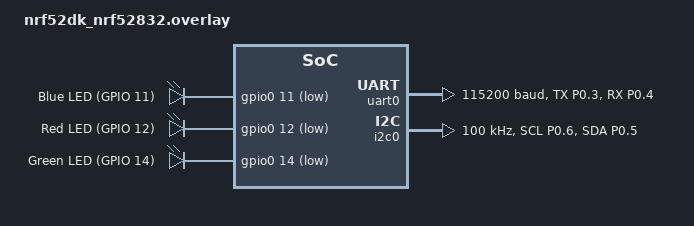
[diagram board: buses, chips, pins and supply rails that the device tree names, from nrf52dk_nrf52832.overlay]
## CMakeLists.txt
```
# SPDX-License-Identifier: Apache-2.0

cmake_minimum_required(VERSION 3.20.0)

find_package(Zephyr REQUIRED HINTS $ENV{ZEPHYR_BASE})
project(puck_test)

FILE(GLOB app_sources src/*.c main_common.c)
target_sources(app PRIVATE ${app_sources}
)
```

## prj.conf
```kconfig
# nothing here
CONFIG_NFCT_PINS_AS_GPIOS=y
CONFIG_CLOCK_CONTROL_NRF_K32SRC_RC=y // this must be enabled if an external LF clock is not present
# Setup I2C
CONFIG_I2C=y
CONFIG_CBPRINTF_FP_SUPPORT=y

# Enable RTT
CONFIG_NO_OPTIMIZATIONS=y
CONFIG_SERIAL=n
CONFIG_PRINTK=y
CONFIG_RTT_CONSOLE=y
```

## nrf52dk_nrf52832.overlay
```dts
// To get started, press Ctrl+Space to bring up the completion menu and view the available nodes.

// You can also use the buttons in the sidebar to perform actions on nodes.
// Actions currently available include:

// * Enabling / disabling the node
// * Adding the bus to a bus
// * Removing the node
// * Connecting ADC channels

// For more help, browse the DeviceTree documentation at https://docs.zephyrproject.org/latest/guides/dts/index.html
// You can also visit the nRF DeviceTree extension documentation at https://nrfconnect.github.io/vscode-nrf-connect/devicetree/nrfdevicetree.html

/ {
    aliases {
        blue-led = &led0;
        red-led = &led1;
        green-led = &led2;
        serial-out = &uart0;
        lis3dh-i2c = &i2c0;
    };
    chosen {
        zephyr,uart-mcumgr = < &uart0 >;
    };
};

&pinctrl {
    uart0_default: uart0_default {
        group1 {
            psels = < NRF_PSEL(UART_TX, 0, 3) >, <NRF_PSEL(UART_RX, 0, 4)>;
            low-power-enable;
        };
    };
    i2c0_default: i2c0_default {
        group1 {
            psels = < NRF_PSEL(TWIM_SCL, 0, 6) >, < NRF_PSEL(TWIM_SDA, 0, 5) >;
        };
    };
};

&led0 {
    gpios = < &gpio0 11 GPIO_ACTIVE_LOW >;
    label = "Blue LED (GPIO 11)";
};

&led1 {
    gpios = < &gpio0 12 GPIO_ACTIVE_LOW >;
    label = "Red LED (GPIO 12)";
};

&led2 {
    gpios = < &gpio0 14 GPIO_ACTIVE_LOW >;
    label = "Green LED (GPIO 14)";
};

&uart0 {
    status = "okay";
    compatible = "nordic,nrf-uart";
    current-speed = < 115200 >;
    pinctrl-0 = <&uart0_default>;
    pinctrl-1 = <&uart0_default>;
    pinctrl-names = "default", "sleep";
};

&i2c0 {
    status = "okay";
    compatible = "nordic,nrf-twim";
    pinctrl-0 = <&i2c0_default>;
    pinctrl-1 = <&i2c0_default>;
    pinctrl-names = "default", "sleep";
    clock-frequency = < I2C_BITRATE_STANDARD >;
};
```

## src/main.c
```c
#include <zephyr/zephyr.h>
#include "sys_types.h"

#define STACK_SIZE 500

extern void blink_blue(void);
extern void blink_green(void);
extern void blink_red(void);
extern void imu(void);

K_THREAD_DEFINE(led_red_tid, STACK_SIZE, blink_red, NULL, NULL, NULL, 4, 0, 0);
K_THREAD_DEFINE(led_green_tid, STACK_SIZE, blink_green, NULL, NULL, NULL, 3, 0, 0);
K_THREAD_DEFINE(led_blue_tid, STACK_SIZE, blink_blue, NULL, NULL, NULL, 2, 0, 0);
K_THREAD_DEFINE(imu_tid, STACK_SIZE, imu, NULL, NULL, NULL, 1, 0, 0);

void main() {
    struct acceleration accel;
    while(1) {
        k_msgq_get(&accel_queue, &accel, K_FOREVER);
    }

}
```

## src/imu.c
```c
#include <zephyr/kernel.h>
#include <zephyr/sys/printk.h>
#include <zephyr/device.h>
#include <zephyr/drivers/i2c.h>
#include <zephyr/sys/byteorder.h>

#include "sys_types.h"

#define MPU6050_ADDR 0x68

extern struct acceleration;

K_MSGQ_DEFINE(accel_queue, sizeof(struct acceleration), 10, 4);

void imu(void) {
    int ret;
    struct acceleration acc;

    uint8_t accel[6];

    const struct device *const i2c_dev = DEVICE_DT_GET(DT_NODELABEL(i2c0));

    if (!device_is_ready(i2c_dev)) {
        return;
    }

    if (ret) return;

    while(1){
        ret = i2c_burst_read(i2c_dev, MPU6050_ADDR, 0x3B, &accel, 6);
        if (ret) return;

        acc.x = (float)(accel[0] << 8 | accel[1])/4096.0;
        acc.y = (float)(accel[2] << 8 | accel[3])/4096.0;
        acc.z = (float)(accel[4] << 8 | accel[5])/4096.0;

        k_msgq_put(&accel_queue, &acc, K_FOREVER);

        printk("acc.x:%.2f\n", acc.x);

        k_msleep(100);
    }
}
```

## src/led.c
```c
#include <zephyr.h>
#include <zephyr/drivers/gpio.h>

#define GREEN_LED_NODE DT_ALIAS(green_led)
#define RED_LED_NODE DT_ALIAS(red_led)
#define BLUE_LED_NODE DT_ALIAS(blue_led)

struct led {
	struct gpio_dt_spec spec; 
	int sleep_time;
	int id;
};

void blink(struct led led_config){
	int ret;

	ret = gpio_pin_configure_dt(&led_config.spec, GPIO_OUTPUT_ACTIVE);

	if (ret < 0) return;

	while(1) {
		ret = gpio_pin_toggle_dt(&led_config.spec);
		if (ret < 0) return;

		k_msleep(led_config.sleep_time);
	}
}

void blink_red(void) {
	struct led led_config = {
		.sleep_time = 333,
		.spec = GPIO_DT_SPEC_GET(RED_LED_NODE, gpios),
		.id = 0xff0000,
	};
	printk("Enabling Red LED");
	blink(led_config);
};

void blink_green(void) {
	struct led led_config = {
		.sleep_time = 250,
		.spec = GPIO_DT_SPEC_GET(GREEN_LED_NODE, gpios),
		.id = 0x00ff00,
	};
	blink(led_config);
};

void blink_blue(void) {
	struct led led_config = {
		.sleep_time = 653,
		.spec = GPIO_DT_SPEC_GET(BLUE_LED_NODE, gpios),
		.id = 0x0000ff,
	};
	blink(led_config);
};
```

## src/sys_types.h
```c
#include <zephyr/zephyr.h>

extern struct k_msgq accel_queue;

struct acceleration {
    float x;
    float y;
    float z;
};
```
